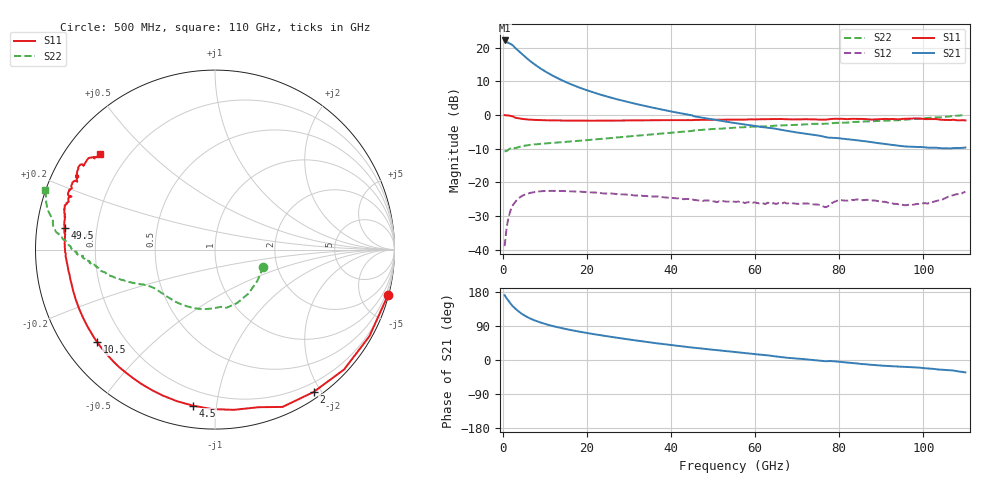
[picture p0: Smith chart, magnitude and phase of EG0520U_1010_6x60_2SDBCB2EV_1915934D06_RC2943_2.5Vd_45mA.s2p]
!File name = EG0520U_1010_6x60_2SDBCB2EV_1915934D06_RC2943_2.5Vd_45mA.s2p
!Base file name = EG0520U_1010_6x60_2SDBCB2EV_1915934D06_RC2943
!Date = 8/23/2019
!Time = 1:02 PM
!Test duration(min) = 0.15
!Test = S-Parameters
!MPTS version = 8.91.5
!State File = C:\Data\PNA\20190821205423\S-Parameters_2019-08-23.sta
!Cal File =
!ComputerName = CMPE-LAB-6
!Comments =
!Attenuation = 0
!Z0 = 50
!Input Power(dBm) = -13.00
!Device ID = EG0520U_1010_6x60_2SDBCB2EV
!Row = 29
!Column = 43
!Technology = QPHT09
!Lot/Wafer = 1915934D06
!Gate Size = 360
!Mask = EG0520
!Cal Standards = GaAs BCB
!Cal Kit = EG2306
!Job Number = 20190821205423
!Device Type = FET
!set_Vg(v) = -1.500
!set_Vd(v) = 2.500
!set_Vd(mA) = 45.000
!file_name = EG0520U_1010_6x60_2SDBCB2EV_1915934D06_RC2943_2.5Vd_45mA.s2p
!Vd(V) = 2.500
!Vd(mA) = 45.089
!Vg(V) = -0.456
!Vg(mA) = -0.001
# GHz  S  DB  R  50
!%	Freq(GHz)  s11(dB)  s11(deg)  s21(dB)  s21(deg)  s12(dB)  s12(deg)  s22(dB)  s22(deg)
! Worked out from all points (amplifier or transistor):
!   220 points, 500 MHz to 110 GHz, reference 50 ohm
!   highest |S21| = 22.1 dB at 500 MHz (marker M1)
!   |S21| within 3 dB of that: start of sweep to 3.702 GHz
!   unconditionally stable (mu >= 1): 34.16 GHz to 97.16 GHz
!   at 18.5 GHz: K = 0.53, MSG = 15.4 dB, |S12| = -22.8 dB
!   at 55.5 GHz: K = 1.54, MAG = 7.4 dB, |S12| = -25.8 dB
!   at 110 GHz: K = -0.86, MSG = 6.6 dB, |S12| = -22.8 dB
!   S11 on the Smith chart (normalised r, x): 500 MHz: 0.11, -7.69; 2 GHz: 0.08, -1.91; 4.5 GHz: 0.11, -0.86; 10.5 GHz: 0.10, -0.34; 49.5 GHz: 0.08, +0.07; 110 GHz: 0.10, +0.36
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0.5  -0.03 -14.8  22.15 171.0  -38.98 81.4  -10.86 -19.4
1  -0.12 -29.3  21.72 162.4  -33.21 73.6  -10.65 -36.8
2  -0.31 -55.3  21.08 147.6  -28.07 59.2  -9.84 -67.5
2.5  -0.41 -66.8  20.64 141.2  -26.71 53.4  -9.62 -79.0
3  -0.81 -74.5  19.94 136.1  -25.89 49.1  -9.88 -84.1
3.5  -0.93 -83.3  19.38 131.0  -25.15 44.7  -9.67 -92.4
4.5  -1.13 -98.0  18.24 122.5  -24.16 37.3  -9.31 -105.7
5.5  -1.27 -109.6  17.14 115.6  -23.56 31.6  -9.08 -115.6
6  -1.33 -114.5  16.61 112.6  -23.35 29.3  -8.97 -119.4
7  -1.42 -122.8  15.62 107.4  -23.04 25.2  -8.80 -125.8
8.5  -1.49 -132.4  14.27 101.0  -22.73 20.6  -8.65 -132.3
10.5  -1.57 -142.0  12.68 93.9  -22.57 15.6  -8.43 -138.8
14  -1.65 -153.6  10.38 84.2  -22.57 9.9  -8.08 -145.5
19  -1.70 -163.7  7.81 73.3  -22.82 5.0  -7.57 -150.8
26.5  -1.67 -172.9  4.90 59.9  -23.41 1.7  -6.75 -155.3
37  -1.54 178.8  1.83 43.6  -24.23 1.0  -5.59 -160.4
49.5  -1.45 171.7  -1.26 27.6  -25.51 1.2  -4.21 -167.1
55.5  -1.37 168.6  -2.44 20.8  -25.83 4.0  -3.73 -169.8
73.5  -1.31 160.1  -5.83 0.3  -26.52 2.1  -2.65 -176.4
92  -1.21 151.6  -8.80 -16.2  -26.26 -12.0  -1.63 177.0
101  -1.22 146.9  -9.70 -22.2  -26.34 -7.3  -0.87 172.3
110  -1.61 140.3  -9.66 -32.7  -22.79 -17.7  0.03 160.8
